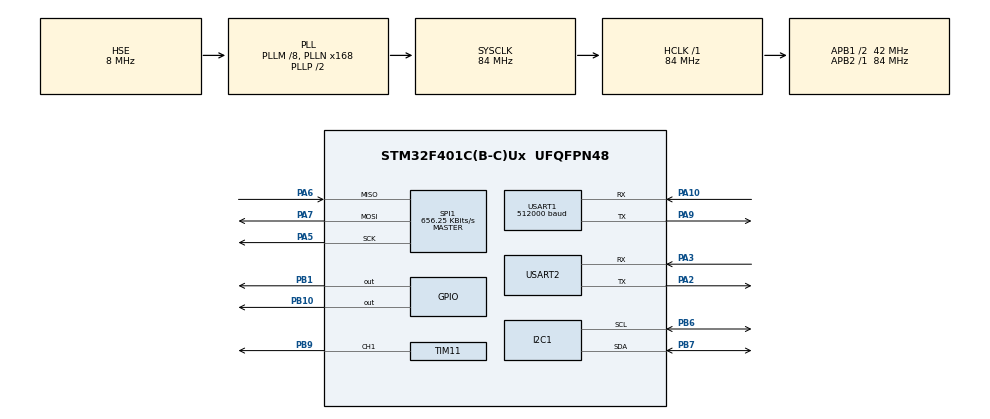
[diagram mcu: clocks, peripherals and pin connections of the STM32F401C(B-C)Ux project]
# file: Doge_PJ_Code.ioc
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Mcu.Family=STM32F4
Mcu.Name=STM32F401C(B-C)Ux
Mcu.Package=UFQFPN48
NVIC.PriorityGroup=NVIC_PRIORITYGROUP_4
NVIC.RCC_IRQn=true\:0\:0\:false\:false\:true\:true
NVIC.SPI1_IRQn=true\:0\:0\:false\:false\:true\:true
NVIC.TIM1_UP_TIM10_IRQn=true\:0\:0\:false\:false\:true\:true
PA10.Mode=Asynchronous
PA10.Signal=USART1_RX
PA13.Mode=Serial_Wire
PA13.Signal=SYS_JTMS-SWDIO
PA14.Mode=Serial_Wire
PA14.Signal=SYS_JTCK-SWCLK
PA2.Mode=Asynchronous
PA2.Signal=USART2_TX
PA3.Mode=Asynchronous
PA3.Signal=USART2_RX
PA4.Signal=SPI1_NSS
PA5.Mode=Full_Duplex_Master
PA5.Signal=SPI1_SCK
PA6.Mode=Full_Duplex_Master
PA6.Signal=SPI1_MISO
PA7.Mode=Full_Duplex_Master
PA7.Signal=SPI1_MOSI
PA9.Mode=Asynchronous
PA9.Signal=USART1_TX
PB1.Signal=GPIO_Output
PB10.Signal=GPIO_Output
PB6.Mode=I2C
PB6.Signal=I2C1_SCL
PB7.Mode=I2C
PB7.Signal=I2C1_SDA
PB9.Signal=S_TIM11_CH1
PH0\ -\ OSC_IN.Mode=HSE-External-Oscillator
PH0\ -\ OSC_IN.Signal=RCC_OSC_IN
PH1\ -\ OSC_OUT.Mode=HSE-External-Oscillator
PH1\ -\ OSC_OUT.Signal=RCC_OSC_OUT
ProjectManager.HeapSize=0x400
ProjectManager.StackSize=0x400
ProjectManager.TargetToolchain=MDK-ARM V5
RCC.48MHZClocksFreq_Value=42000000
RCC.AHBFreq_Value=84000000
RCC.APB1CLKDivider=RCC_HCLK_DIV2
RCC.APB1Freq_Value=42000000
RCC.APB1TimFreq_Value=84000000
RCC.APB2Freq_Value=84000000
RCC.APB2TimFreq_Value=84000000
RCC.CortexFreq_Value=84000000
RCC.HCLKFreq_Value=84000000
RCC.HSE_VALUE=8000000
RCC.HSI_VALUE=16000000
RCC.LSE_VALUE=32768
RCC.PLLM=8
RCC.PLLN=168
RCC.PLLSourceVirtual=RCC_PLLSOURCE_HSE
RCC.SYSCLKFreq_VALUE=84000000
RCC.SYSCLKSource=RCC_SYSCLKSOURCE_PLLCLK
RCC.VCOOutputFreq_Value=168000000
SH.S_TIM11_CH1.0=TIM11_CH1,PWM Generation1 CH1
SPI1.BaudRatePrescaler=SPI_BAUDRATEPRESCALER_128
SPI1.CLKPhase=SPI_PHASE_2EDGE
SPI1.CLKPolarity=SPI_POLARITY_HIGH
SPI1.CalculateBaudRate=656.25 KBits/s
SPI1.DataSize=SPI_DATASIZE_16BIT
SPI1.Direction=SPI_DIRECTION_2LINES
SPI1.Mode=SPI_MODE_MASTER
SPI1.VirtualType=VM_MASTER
TIM10.Period=99
TIM10.Prescaler=41999
TIM11.Channel=TIM_CHANNEL_1
TIM11.Period=499
TIM11.Prescaler=419
TIM11.Pulse=99
TIM5.Period=1999
TIM5.Prescaler=41999
USART1.BaudRate=512000
USART1.VirtualMode=VM_ASYNC
USART2.VirtualMode=VM_ASYNC
VP_TIM10_VS_ClockSourceINT.Mode=Enable_Timer
VP_TIM11_VS_ClockSourceINT.Mode=Enable_Timer
VP_TIM5_VS_ClockSourceINT.Mode=Internal
board=Doge_PJ_Code

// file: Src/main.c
/**
  ******************************************************************************
  * File Name          : main.c
  * Description        : Main program body
  ******************************************************************************
  ** This notice applies to any and all portions of this file
  * that are not between comment pairs USER CODE BEGIN and
  * USER CODE END. Other portions of this file, whether
  * inserted by the user or by software development tools
  * are owned by their respective copyright owners.
  *
  * COPYRIGHT(c) 2018 STMicroelectronics
  *
  * Redistribution and use in source and binary forms, with or without modification,
  * are permitted provided that the following conditions are met:
  *   1. Redistributions of source code must retain the above copyright notice,
  *      this list of conditions and the following disclaimer.
  *   2. Redistributions in binary form must reproduce the above copyright notice,
  *      this list of conditions and the following disclaimer in the documentation
  *      and/or other materials provided with the distribution.
  *   3. Neither the name of STMicroelectronics nor the names of its contributors
  *      may be used to endorse or promote products derived from this software
  *      without specific prior written permission.
  *
  * THIS SOFTWARE IS PROVIDED BY THE COPYRIGHT HOLDERS AND CONTRIBUTORS "AS IS"
  * AND ANY EXPRESS OR IMPLIED WARRANTIES, INCLUDING, BUT NOT LIMITED TO, THE
  * IMPLIED WARRANTIES OF MERCHANTABILITY AND FITNESS FOR A PARTICULAR PURPOSE ARE
  * DISCLAIMED. IN NO EVENT SHALL THE COPYRIGHT HOLDER OR CONTRIBUTORS BE LIABLE
  * FOR ANY DIRECT, INDIRECT, INCIDENTAL, SPECIAL, EXEMPLARY, OR CONSEQUENTIAL
  * DAMAGES (INCLUDING, BUT NOT LIMITED TO, PROCUREMENT OF SUBSTITUTE GOODS OR
  * SERVICES; LOSS OF USE, DATA, OR PROFITS; OR BUSINESS INTERRUPTION) HOWEVER
  * CAUSED AND ON ANY THEORY OF LIABILITY, WHETHER IN CONTRACT, STRICT LIABILITY,
  * OR TORT (INCLUDING NEGLIGENCE OR OTHERWISE) ARISING IN ANY WAY OUT OF THE USE
  * OF THIS SOFTWARE, EVEN IF ADVISED OF THE POSSIBILITY OF SUCH DAMAGE.
  *
  ******************************************************************************
  */

#include "main.h"
#include "stm32f4xx_hal.h"
#include "i2c.h"
#include "spi.h"
#include "tim.h"
#include "usart.h"
#include "gpio.h"

/* USER CODE BEGIN Includes */
#define PUTCHAR_PROTOTYPE int fputc(int ch, FILE *f)
#include <stdio.h>
#include <stdlib.h>
#include <string.h>
#include <MPU6500.h>
/* USER CODE END Includes */

/* USER CODE BEGIN PV */
extern TIM_HandleTypeDef htim10;
/* Private variables ---------------------------------------------------------*/

/* USER CODE END PV */

void SystemClock_Config(void);

/* USER CODE BEGIN PFP */
PUTCHAR_PROTOTYPE
{
	while(!(huart1.Instance->SR&UART_FLAG_TXE)){}	//wait for Uart TX End
	huart1.Instance->DR = ch;
	return ch;
}
/* Private function prototypes -----------------------------------------------*/
/* USER CODE END PFP */

int main(void)
{

  /* MCU Configuration----------------------------------------------------------*/

  /* Reset of all peripherals, Initializes the Flash interface and the Systick. */
  HAL_Init();

  /* Configure the system clock */
  SystemClock_Config();

  /* Initialize all configured peripherals */
  MX_GPIO_Init();
  MX_I2C1_Init();
  MX_SPI1_Init();
  MX_TIM5_Init();
  MX_TIM11_Init();
  MX_USART1_UART_Init();
  MX_USART2_UART_Init();
  MX_TIM10_Init();

  /* USER CODE BEGIN 2 */
	HAL_GPIO_WritePin(GPIOB, GPIO_PIN_9|GPIO_PIN_1, GPIO_PIN_SET);
	HAL_GPIO_WritePin(GPIOB, GPIO_PIN_10, GPIO_PIN_RESET);
	MPU6500_Configuration();
	HAL_TIM_Base_Start_IT(&htim10);
  /* USER CODE END 2 */

  /* Infinite loop */
  while (1)
  {

  /* USER CODE BEGIN 3 */
//	printf("%d\t%d\t%d\r\n",(MPU6500_read(0x3B00)<<8)+MPU6500_read(0x3C00)+10000
//	,(MPU6500_read(0x3D00)<<8)+MPU6500_read(0x3E00)+10000,(MPU6500_read(0x3F00)<<8)+MPU6500_read(0x4000)+10000);
printf("%d\t%d\t%d\r\n",(MPU6500_read(0x4300)<<8)+MPU6500_read(0x4400)+10000
,(MPU6500_read(0x4500)<<8)+MPU6500_read(0x4600)+10000,(MPU6500_read(0x4700)<<8)+MPU6500_read(0x4800)+10000);
		HAL_Delay(100);
  }
  /* USER CODE END 3 */

}

/** System Clock Configuration
*/
void SystemClock_Config(void)
{

  RCC_OscInitTypeDef RCC_OscInitStruct;
  RCC_ClkInitTypeDef RCC_ClkInitStruct;

    /**Configure the main internal regulator output voltage
    */
  __HAL_RCC_PWR_CLK_ENABLE();

  __HAL_PWR_VOLTAGESCALING_CONFIG(PWR_REGULATOR_VOLTAGE_SCALE2);

    /**Initializes the CPU, AHB and APB busses clocks
    */
  RCC_OscInitStruct.OscillatorType = RCC_OSCILLATORTYPE_HSE;
  RCC_OscInitStruct.HSEState = RCC_HSE_ON;
  RCC_OscInitStruct.PLL.PLLState = RCC_PLL_ON;
  RCC_OscInitStruct.PLL.PLLSource = RCC_PLLSOURCE_HSE;
  RCC_OscInitStruct.PLL.PLLM = 8;
  RCC_OscInitStruct.PLL.PLLN = 168;
  RCC_OscInitStruct.PLL.PLLP = RCC_PLLP_DIV2;
  RCC_OscInitStruct.PLL.PLLQ = 4;
  if (HAL_RCC_OscConfig(&RCC_OscInitStruct) != HAL_OK)
  {
    _Error_Handler(__FILE__, __LINE__);
  }

    /**Initializes the CPU, AHB and APB busses clocks
    */
  RCC_ClkInitStruct.ClockType = RCC_CLOCKTYPE_HCLK|RCC_CLOCKTYPE_SYSCLK
                              |RCC_CLOCKTYPE_PCLK1|RCC_CLOCKTYPE_PCLK2;
  RCC_ClkInitStruct.SYSCLKSource = RCC_SYSCLKSOURCE_PLLCLK;
  RCC_ClkInitStruct.AHBCLKDivider = RCC_SYSCLK_DIV1;
  RCC_ClkInitStruct.APB1CLKDivider = RCC_HCLK_DIV2;
  RCC_ClkInitStruct.APB2CLKDivider = RCC_HCLK_DIV1;

  if (HAL_RCC_ClockConfig(&RCC_ClkInitStruct, FLASH_LATENCY_2) != HAL_OK)
  {
    _Error_Handler(__FILE__, __LINE__);
  }

    /**Configure the Systick interrupt time
    */
  HAL_SYSTICK_Config(HAL_RCC_GetHCLKFreq()/1000);

    /**Configure the Systick
    */
  HAL_SYSTICK_CLKSourceConfig(SYSTICK_CLKSOURCE_HCLK);

  /* SysTick_IRQn interrupt configuration */
  HAL_NVIC_SetPriority(SysTick_IRQn, 0, 0);
}

void _Error_Handler(char * file, int line)
{
  while(1)
  {
  }
}

/************************ (C) COPYRIGHT STMicroelectronics *****END OF FILE****/
